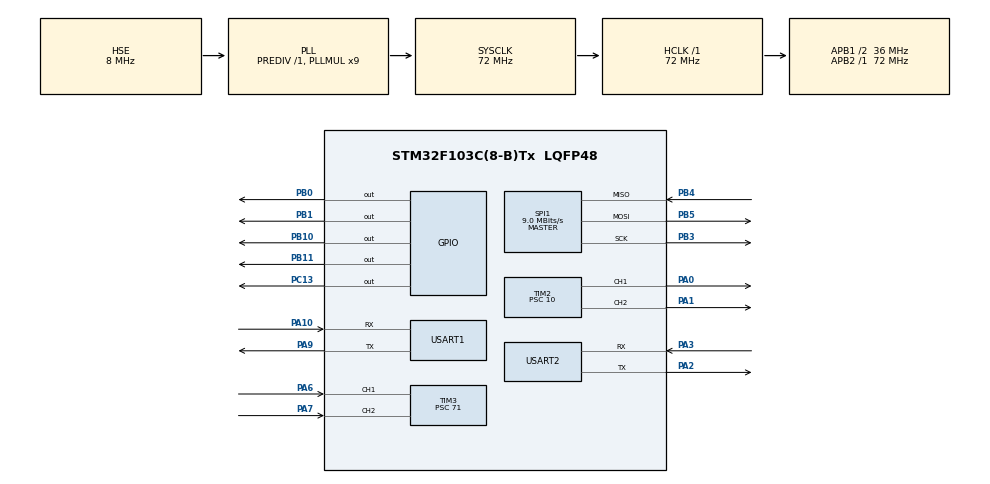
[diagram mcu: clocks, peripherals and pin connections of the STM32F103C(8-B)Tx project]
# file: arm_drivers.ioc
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Dma.Request0=USART2_RX
Dma.USART2_RX.0.Direction=DMA_PERIPH_TO_MEMORY
Dma.USART2_RX.0.Instance=DMA1_Channel6
Dma.USART2_RX.0.MemDataAlignment=DMA_MDATAALIGN_BYTE
Dma.USART2_RX.0.MemInc=DMA_MINC_ENABLE
Dma.USART2_RX.0.Mode=DMA_NORMAL
Dma.USART2_RX.0.PeriphDataAlignment=DMA_PDATAALIGN_BYTE
Dma.USART2_RX.0.PeriphInc=DMA_PINC_DISABLE
Dma.USART2_RX.0.Priority=DMA_PRIORITY_LOW
FREERTOS.BinarySemaphores01=ProximitySemaphore,Dynamic,NULL,Available
FREERTOS.Tasks01=defaultTask,0,128,StartDefaultTask,Default,NULL,Dynamic,NULL,NULL;task1,0,128,UltrasonicTask,Default,NULL,Dynamic,NULL,NULL;task2,0,128,ProcessDistance,Default,NULL,Dynamic,NULL,NULL;task3,0,128,ProximityAction,Default,NULL,Dynamic,NULL,NULL
FREERTOS.configUSE_NEWLIB_REENTRANT=1
Mcu.Family=STM32F1
Mcu.Name=STM32F103C(8-B)Tx
Mcu.Package=LQFP48
NVIC.DMA1_Channel6_IRQn=true\:5\:0\:false\:false\:true\:true\:false\:true\:true
NVIC.PriorityGroup=NVIC_PRIORITYGROUP_4
NVIC.TIM1_UP_IRQn=true\:15\:0\:false\:false\:true\:false\:false\:true\:true
NVIC.TIM3_IRQn=true\:5\:0\:false\:false\:true\:true\:true\:true\:true
NVIC.TimeBase=TIM1_UP_IRQn
NVIC.TimeBaseIP=TIM1
NVIC.USART1_IRQn=true\:5\:0\:false\:false\:true\:true\:true\:true\:true
PA0-WKUP.Signal=S_TIM2_CH1_ETR
PA1.Signal=S_TIM2_CH2
PA10.Mode=Asynchronous
PA10.Signal=USART1_RX
PA13.Mode=Serial_Wire
PA13.Signal=SYS_JTMS-SWDIO
PA14.Mode=Serial_Wire
PA14.Signal=SYS_JTCK-SWCLK
PA2.Mode=Asynchronous
PA2.Signal=USART2_TX
PA3.Mode=Asynchronous
PA3.Signal=USART2_RX
PA6.Signal=S_TIM3_CH1
PA7.Signal=S_TIM3_CH2
PA9.Mode=Asynchronous
PA9.Signal=USART1_TX
PB0.Signal=GPIO_Output
PB1.Signal=GPIO_Output
PB10.Signal=GPIO_Output
PB11.Signal=GPIO_Output
PB3.Mode=Full_Duplex_Master
PB3.Signal=SPI1_SCK
PB4.Mode=Full_Duplex_Master
PB4.Signal=SPI1_MISO
PB5.Mode=Full_Duplex_Master
PB5.Signal=SPI1_MOSI
PC13-TAMPER-RTC.Signal=GPIO_Output
PD0-OSC_IN.Mode=HSE-External-Oscillator
PD0-OSC_IN.Signal=RCC_OSC_IN
PD1-OSC_OUT.Mode=HSE-External-Oscillator
PD1-OSC_OUT.Signal=RCC_OSC_OUT
ProjectManager.HeapSize=0x200
ProjectManager.StackSize=0x400
ProjectManager.TargetToolchain=STM32CubeIDE
RCC.AHBFreq_Value=72000000
RCC.APB1CLKDivider=RCC_HCLK_DIV2
RCC.APB1Freq_Value=36000000
RCC.APB1TimFreq_Value=72000000
RCC.APB2Freq_Value=72000000
RCC.APB2TimFreq_Value=72000000
RCC.HCLKFreq_Value=72000000
RCC.PLLMUL=RCC_PLL_MUL9
RCC.PLLSourceVirtual=RCC_PLLSOURCE_HSE
RCC.SYSCLKFreq_VALUE=72000000
RCC.SYSCLKSource=RCC_SYSCLKSOURCE_PLLCLK
RCC.USBFreq_Value=72000000
SH.S_TIM2_CH1_ETR.0=TIM2_CH1,PWM Generation1 CH1
SH.S_TIM2_CH2.0=TIM2_CH2,PWM Generation2 CH2
SH.S_TIM3_CH1.0=TIM3_CH1,Input_Capture1_from_TI1
SH.S_TIM3_CH2.0=TIM3_CH2,Input_Capture2_from_TI2
SPI1.BaudRatePrescaler=SPI_BAUDRATEPRESCALER_8
SPI1.CalculateBaudRate=9.0 MBits/s
SPI1.Direction=SPI_DIRECTION_2LINES
SPI1.Mode=SPI_MODE_MASTER
SPI1.VirtualType=VM_MASTER
TIM2.AutoReloadPreload=TIM_AUTORELOAD_PRELOAD_ENABLE
TIM2.Channel-PWM\ Generation1\ CH1=TIM_CHANNEL_1
TIM2.Channel-PWM\ Generation2\ CH2=TIM_CHANNEL_2
TIM2.Prescaler=10
TIM2.Pulse-PWM\ Generation1\ CH1=32768
TIM2.Pulse-PWM\ Generation2\ CH2=32768
TIM3.Channel-Input_Capture1_from_TI1=TIM_CHANNEL_1
TIM3.Channel-Input_Capture2_from_TI2=TIM_CHANNEL_2
TIM3.Prescaler=71
USART1.VirtualMode=VM_ASYNC
USART2.VirtualMode=VM_ASYNC
VP_FREERTOS_VS_CMSIS_V1.Mode=CMSIS_V1
VP_SYS_VS_tim1.Mode=TIM1
VP_TIM2_VS_ClockSourceINT.Mode=Internal
VP_TIM3_VS_ClockSourceINT.Mode=Internal
board=custom

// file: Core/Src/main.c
/* USER CODE BEGIN Header */
/**
  ******************************************************************************
  * @file           : main.c
  * @brief          : Main program body
  ******************************************************************************
  * @attention
  *
  * <h2><center>&copy; Copyright (c) 2025 STMicroelectronics.
  * All rights reserved.</center></h2>
  *
  * This software component is licensed by ST under BSD 3-Clause license,
  * the "License"; You may not use this file except in compliance with the
  * License. You may obtain a copy of the License at:
  *                        opensource.org/licenses/BSD-3-Clause
  *
  ******************************************************************************
  */
/* USER CODE END Header */
#include "main.h"
#include "cmsis_os.h"
#include "dma.h"
#include "spi.h"
#include "tim.h"
#include "usart.h"
#include "gpio.h"

/* USER CODE BEGIN Includes */
#include "enc28j60.h"
/* USER CODE END Includes */

/* USER CODE BEGIN PTD */
QueueHandle_t statusQueue;
QueueHandle_t motorQueue;
/* USER CODE END PTD */

/* USER CODE BEGIN PD */
#define OFFSET (0x800)
#define DES_ADDRESS ((SRAM_BASE) +(OFFSET))

/* USER CODE END PD */

void SystemClock_Config(void);
void MX_FREERTOS_Init(void);

int main(void)
{

  /* MCU Configuration--------------------------------------------------------*/

  /* Reset of all peripherals, Initializes the Flash interface and the Systick. */
  HAL_Init();

  /* Configure the system clock */
  SystemClock_Config();

  /* Initialize all configured peripherals */
  MX_GPIO_Init();
  MX_DMA_Init();
  MX_USART1_UART_Init();
  MX_TIM2_Init();
  MX_USART2_UART_Init();
  MX_TIM3_Init();
  MX_SPI1_Init();
  /* USER CODE BEGIN 2 */
  HAL_TIM_PWM_Start(&htim2, TIM_CHANNEL_1);
  HAL_TIM_PWM_Start(&htim2, TIM_CHANNEL_2);
  HAL_TIM_IC_Start_IT(&htim3, TIM_CHANNEL_1);
  HAL_TIM_IC_Start_IT(&htim3, TIM_CHANNEL_2);

  Motor_Init();

  motorQueue = xQueueCreate(10, sizeof(char));
  if (motorQueue == NULL) {
          Error_Handler();
      }
  statusQueue = xQueueCreate(5, sizeof(char[12]));
  if (statusQueue == NULL) {
          Error_Handler();
      }

  /* USER CODE END 2 */

  /* Call init function for freertos objects (in cmsis_os2.c) */
  MX_FREERTOS_Init();

  /* Start scheduler */
  osKernelStart();

  /* We should never get here as control is now taken by the scheduler */

  /* Infinite loop */
  while (1)
  {

  }
}

void SystemClock_Config(void)
{
  RCC_OscInitTypeDef RCC_OscInitStruct = {0};
  RCC_ClkInitTypeDef RCC_ClkInitStruct = {0};

  /** Initializes the RCC Oscillators according to the specified parameters
  * in the RCC_OscInitTypeDef structure.
  */
  RCC_OscInitStruct.OscillatorType = RCC_OSCILLATORTYPE_HSE;
  RCC_OscInitStruct.HSEState = RCC_HSE_ON;
  RCC_OscInitStruct.HSEPredivValue = RCC_HSE_PREDIV_DIV1;
  RCC_OscInitStruct.HSIState = RCC_HSI_ON;
  RCC_OscInitStruct.PLL.PLLState = RCC_PLL_ON;
  RCC_OscInitStruct.PLL.PLLSource = RCC_PLLSOURCE_HSE;
  RCC_OscInitStruct.PLL.PLLMUL = RCC_PLL_MUL9;
  if (HAL_RCC_OscConfig(&RCC_OscInitStruct) != HAL_OK)
  {
    Error_Handler();
  }

  /** Initializes the CPU, AHB and APB buses clocks
  */
  RCC_ClkInitStruct.ClockType = RCC_CLOCKTYPE_HCLK|RCC_CLOCKTYPE_SYSCLK
                              |RCC_CLOCKTYPE_PCLK1|RCC_CLOCKTYPE_PCLK2;
  RCC_ClkInitStruct.SYSCLKSource = RCC_SYSCLKSOURCE_PLLCLK;
  RCC_ClkInitStruct.AHBCLKDivider = RCC_SYSCLK_DIV1;
  RCC_ClkInitStruct.APB1CLKDivider = RCC_HCLK_DIV2;
  RCC_ClkInitStruct.APB2CLKDivider = RCC_HCLK_DIV1;

  if (HAL_RCC_ClockConfig(&RCC_ClkInitStruct, FLASH_LATENCY_2) != HAL_OK)
  {
    Error_Handler();
  }
}

/* USER CODE BEGIN 4 */

uint8_t crc8(uint8_t *data, uint8_t len) {
    uint8_t crc = 0x00;
    uint8_t polynomial = 0x07;
    for (uint8_t i = 0; i < len; i++) {
        crc ^= data[i];
        for (uint8_t j = 0; j < 8; j++) {
            if (crc & 0x80) {
                crc = (crc << 1) ^ polynomial;
            } else {
                crc <<= 1;
            }
        }
    }
    return crc;
}

/* USER CODE END 4 */

void HAL_TIM_PeriodElapsedCallback(TIM_HandleTypeDef *htim)
{
  if (htim->Instance == TIM1) {
    HAL_IncTick();
  }
}

void Error_Handler(void)
{
  __disable_irq();
  while (1)
  {
  }
}

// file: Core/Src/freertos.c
/* USER CODE BEGIN Header */
/**
  ******************************************************************************
  * File Name          : freertos.c
  * Description        : Code for freertos applications
  ******************************************************************************
  * @attention
  *
  * Copyright (c) 2025 STMicroelectronics.
  * All rights reserved.
  *
  * This software is licensed under terms that can be found in the LICENSE file
  * in the root directory of this software component.
  * If no LICENSE file comes with this software, it is provided AS-IS.
  *
  ******************************************************************************
  */
/* USER CODE END Header */

#include "FreeRTOS.h"
#include "task.h"
#include "main.h"
#include "cmsis_os.h"

/* USER CODE BEGIN Includes */
#include "tim.h"
#include "stm32f1xx_it.h"
#include "usart.h"
#include "enc28j60.h"
#include "spi.h"
#include <string.h>
/* USER CODE END Includes */

/* USER CODE BEGIN PTD */
extern QueueHandle_t statusQueue;
extern uint8_t mymac[];
extern uint8_t myip[];
extern uint8_t destip[];
/* USER CODE END PTD */

/* USER CODE BEGIN PD */
#define TRIG_PIN_1 GPIO_PIN_0
#define TRIG_PORT_1 GPIOB
#define TRIG_PIN_2 GPIO_PIN_1
#define TRIG_PORT_2 GPIOB

uint8_t myip[] = {192, 168, 1, 10};
uint8_t destip[] = {192, 168, 1, 11};

/* USER CODE END PD */

/* USER CODE BEGIN Variables */
osThreadId task4Handle;
osThreadId task5Handle;

osThreadId task6Handle;
osThreadId task7Handle;
/* USER CODE END Variables */
osThreadId defaultTaskHandle;
osThreadId task1Handle;
osThreadId task2Handle;
osThreadId task3Handle;
osSemaphoreId ProximitySemaphoreHandle;

/* USER CODE BEGIN FunctionPrototypes */
void UART1_Task(void const *argument);
void Motor_Task(void const *argument);
void makeSomeIpMessage(uint8_t *buffer, uint16_t service_id, uint16_t method_id,
		uint16_t client_id, uint16_t session_id, uint8_t msg_type,
		uint8_t *payload, uint16_t payload_len) ;

void EthernetTask(void const *argument);
void SomeIpTask(void const *argument);
/* USER CODE END FunctionPrototypes */

void StartDefaultTask(void const * argument);
void UltrasonicTask(void const * argument);
void ProcessDistance(void const * argument);
void ProximityAction(void const * argument);

void MX_FREERTOS_Init(void); /* (MISRA C 2004 rule 8.1) */

/* GetIdleTaskMemory prototype (linked to static allocation support) */
void vApplicationGetIdleTaskMemory( StaticTask_t **ppxIdleTaskTCBBuffer, StackType_t **ppxIdleTaskStackBuffer, uint32_t *pulIdleTaskStackSize );

/* USER CODE BEGIN GET_IDLE_TASK_MEMORY */
static StaticTask_t xIdleTaskTCBBuffer;
static StackType_t xIdleStack[configMINIMAL_STACK_SIZE];

void vApplicationGetIdleTaskMemory( StaticTask_t **ppxIdleTaskTCBBuffer, StackType_t **ppxIdleTaskStackBuffer, uint32_t *pulIdleTaskStackSize )
{
  *ppxIdleTaskTCBBuffer = &xIdleTaskTCBBuffer;
  *ppxIdleTaskStackBuffer = &xIdleStack[0];
  *pulIdleTaskStackSize = configMINIMAL_STACK_SIZE;
  /* place for user code */
}
/* USER CODE END GET_IDLE_TASK_MEMORY */

void MX_FREERTOS_Init(void) {

  /* Create the semaphores(s) */
  /* definition and creation of ProximitySemaphore */
  osSemaphoreDef(ProximitySemaphore);
  ProximitySemaphoreHandle = osSemaphoreCreate(osSemaphore(ProximitySemaphore), 1);

  /* Create the thread(s) */
  /* definition and creation of defaultTask */
  osThreadDef(defaultTask, StartDefaultTask, osPriorityNormal, 0, 128);
  defaultTaskHandle = osThreadCreate(osThread(defaultTask), NULL);

  /* definition and creation of task1 */
  osThreadDef(task1, UltrasonicTask, osPriorityNormal, 0, 128);
  task1Handle = osThreadCreate(osThread(task1), NULL);

  /* definition and creation of task2 */
  osThreadDef(task2, ProcessDistance, osPriorityNormal, 0, 128);
  task2Handle = osThreadCreate(osThread(task2), NULL);

  /* definition and creation of task3 */
  osThreadDef(task3, ProximityAction, osPriorityNormal, 0, 128);
  task3Handle = osThreadCreate(osThread(task3), NULL);

  /* USER CODE BEGIN RTOS_THREADS */
	osThreadDef(task4, UART1_Task, osPriorityNormal, 0, 128);
	osThreadCreate(osThread(task4), NULL);

	osThreadDef(task5, Motor_Task, osPriorityNormal, 0, 128);
	osThreadCreate(osThread(task5), NULL);

	osThreadDef(task6, EthernetTask, osPriorityNormal, 0, 128);
	osThreadCreate(osThread(task6), NULL);
	osThreadDef(task7, SomeIpTask, osPriorityNormal, 0, 128);
	osThreadCreate(osThread(task7), NULL);
  /* add threads, ... */
  /* USER CODE END RTOS_THREADS */

}

void StartDefaultTask(void const * argument)
{
  for(;;)
  {
    osDelay(1);
  }
}

void UltrasonicTask(void const * argument)
{
  /* USER CODE BEGIN UltrasonicTask */
  /* Infinite loop */
  for(;;)
  {
	  HAL_GPIO_WritePin(TRIG_PORT_1, TRIG_PIN_1, GPIO_PIN_SET);  // pull the TRIG pin HIGH
	  HAL_Delay(1);  // wait for 10 us
	  HAL_GPIO_WritePin(TRIG_PORT_1, TRIG_PIN_1, GPIO_PIN_RESET);  // pull the TRIG pin low

	  __HAL_TIM_ENABLE_IT(&htim3, TIM_IT_CC1);
	  osDelay(50);

	  HAL_GPIO_WritePin(TRIG_PORT_2, TRIG_PIN_2, GPIO_PIN_SET);  // pull the TRIG pin HIGH
	  HAL_Delay(1);  // wait for 10 us
	  HAL_GPIO_WritePin(TRIG_PORT_2, TRIG_PIN_2, GPIO_PIN_RESET);  // pull the TRIG pin low

	  __HAL_TIM_ENABLE_IT(&htim3, TIM_IT_CC2);
	  osDelay(50);
  }
  /* USER CODE END UltrasonicTask */
}

void ProcessDistance(void const * argument)
{
  /* USER CODE BEGIN ProcessDistance */
  /* Infinite loop */
  for(;;)
  {
	  /*if(Distance_1<15){
		  HAL_GPIO_WritePin(GPIOB, GPIO_PIN_10, GPIO_PIN_SET);
	  }
	  else{
		  HAL_GPIO_WritePin(GPIOB, GPIO_PIN_10, GPIO_PIN_RESET);
	  }*/

	  if(Distance_2<15){
		  HAL_GPIO_WritePin(GPIOB, GPIO_PIN_11, GPIO_PIN_SET);
	  }
	  else{
		  HAL_GPIO_WritePin(GPIOB, GPIO_PIN_11, GPIO_PIN_RESET);
	  }
	  osDelay(1);
  }
  /* USER CODE END ProcessDistance */
}

void ProximityAction(void const * argument)
{
  /* USER CODE BEGIN ProximityAction */
  /* Infinite loop */
  for(;;)
  {
	  if (xSemaphoreTake(ProximitySemaphoreHandle, portMAX_DELAY) == pdTRUE) {
	  HAL_GPIO_TogglePin(GPIOB, GPIO_PIN_10);

	  }

  }
  /* USER CODE END ProximityAction */
}

/* USER CODE BEGIN Application */
void UART1_Task(void const *argument) {

    while (1) {
        if (dataReady) {

            uint8_t calculated_crc = crc8(&rxBuffer[0], 1);
            if (calculated_crc == rxBuffer[1]) {
                xQueueSend(motorQueue, &rxBuffer[0], portMAX_DELAY);
            }
            dataReady = 0;
        }
        vTaskDelay(pdMS_TO_TICKS(10));
    }
}

void Motor_Task(void const *argument) {
	char received_char;
    uint16_t speed = 50;
while (1) {
	if (xQueueReceive(motorQueue, &received_char, portMAX_DELAY) == pdTRUE) {
		switch (received_char) {
		case 'f': // Forward
			Motor1_Forward(speed);
			Motor2_Forward(speed);
			break;
		case 'b': // Backward
			Motor1_Backward(speed);
			Motor2_Backward(speed);
			break;
		case 'l': // Left
			Motor_Turn(speed, TURN_LEFT);
			break;
		case 'r': // Right
			Motor_Turn(speed, TURN_RIGHT);
			break;
		default:
			Motor1_Stop();
			Motor2_Stop();
			break;
		}
	}
}
}

void makeSomeIpMessage(uint8_t *buffer, uint16_t service_id, uint16_t method_id,
		uint16_t client_id, uint16_t session_id, uint8_t msg_type,
		uint8_t *payload, uint16_t payload_len) {
	uint32_t length = 8 + payload_len; // طول الـ header (8 bytes) + الـ payload

	// SOME/IP Header
	buffer[0] = (service_id >> 8) & 0xFF;   // Service ID (High byte)
	buffer[1] = service_id & 0xFF;          // Service ID (Low byte)
	buffer[2] = (method_id >> 8) & 0xFF;    // Method ID (High byte)
	buffer[3] = method_id & 0xFF;           // Method ID (Low byte)
	buffer[4] = (length >> 24) & 0xFF;      // Length (4 bytes)
	buffer[5] = (length >> 16) & 0xFF;
	buffer[6] = (length >> 8) & 0xFF;
	buffer[7] = length & 0xFF;
	buffer[8] = (client_id >> 8) & 0xFF;    // Client ID (High byte)
	buffer[9] = client_id & 0xFF;           // Client ID (Low byte)
	buffer[10] = (session_id >> 8) & 0xFF;  // Session ID (High byte)
	buffer[11] = session_id & 0xFF;         // Session ID (Low byte)
	buffer[12] = 0x01;                      // Protocol Version
	buffer[13] = 0x01;                      // Interface Version
	buffer[14] = msg_type;                  // Message Type (0x00 = Request)
	buffer[15] = 0x00;                      // Return Code (0x00 = OK)

	// Payload
	if (payload && payload_len > 0) {
		memcpy(buffer + 16, payload, payload_len);
	}
}

// Task للتعامل مع الـ Ethernet
void EthernetTask(void const *argument) {
	enc28j60Init(mymac);
	enc28j60clkout(2);
	enc28j60PhyWrite(PHCON2, 0x200);
	enc28j60SetIP(myip);

	while (1) {
		if (enc28j60linkup()) {
			//Ethernet connected!
			xQueueSend(statusQueue, "CONNECTED", portMAX_DELAY);
		} else {
			//Ethernet disconnected!
			xQueueSend(statusQueue, "DISCONNECTED", portMAX_DELAY);
		}
		vTaskDelay(pdMS_TO_TICKS(1000)); // تحقق كل ثانية
	}
}

// Task لإرسال رسائل SOME/IP
void SomeIpTask(void const *argument) {
	char status[12];
	uint8_t payload[] = { 0xDE, 0xAD, 0xBE, 0xEF }; // Payload
	uint16_t payload_len = sizeof(payload);
	uint8_t someip_buffer[32]; // Buffer كافي للـ header (16) + payload (4)

	while (1) {
		if (xQueueReceive(statusQueue, status, portMAX_DELAY) == pdTRUE) {
			if (strcmp(status, "CONNECTED") == 0) {
				//  make SOME/IP message
				makeSomeIpMessage(someip_buffer, 0x1234,       // Service ID
						0x5678,       // Method ID
						0x0001,       // Client ID
						0x0001,       // Session ID
						0x00,         // Message Type (Request)
						payload,      // Payload
						payload_len);

				// إرسال الرسالة عبر UDP إلى الـ Raspberry Pi
				enc28j60PacketSendUDP(destip, 30490, 12345, someip_buffer,
						16 + payload_len);
				//SOME/IP message sent to Raspberry Pi!
			}
		}
		vTaskDelay(pdMS_TO_TICKS(5000));
	}
}

/* USER CODE END Application */
